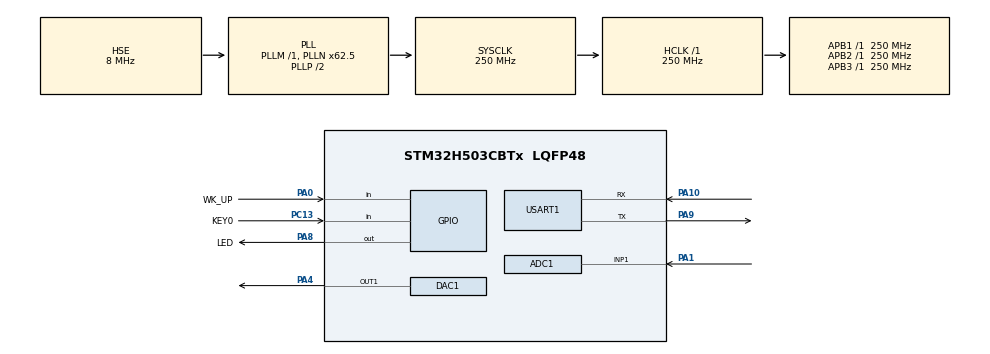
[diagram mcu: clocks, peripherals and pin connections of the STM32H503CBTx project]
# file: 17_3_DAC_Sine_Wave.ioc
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ADC1.Channel-1\#ChannelRegularConversion=ADC_CHANNEL_1
ADC1.ClockPrescaler=ADC_CLOCK_ASYNC_DIV8
ADC1.MonitoredBy-1\#ChannelRegularConversion=__NULL
ADC1.NbrOfConversionFlag=1
ADC1.OffsetNumber-1\#ChannelRegularConversion=ADC_OFFSET_NONE
ADC1.Rank-1\#ChannelRegularConversion=1
ADC1.SamplingTime-1\#ChannelRegularConversion=ADC_SAMPLETIME_2CYCLES_5
ADC1.master=1
BOOTPATH.BootPathName=LEGACY
BOOTPATH.UserSelectedBootPath=LEGACY
DAC1.DAC_Channel-DAC_OUT1=DAC_CHANNEL_1
DAC1.DAC_Trigger-DAC_OUT1=DAC_TRIGGER_T1_TRGO
GPDMA1.LINKALLOCATEDPORT_GPDMACH1=DMA_LINK_ALLOCATED_PORT1
GPDMA1.LINKEDLISTMODE_GPDMACH1=DMA_LINKEDLIST_CIRCULAR
GPDMA1.TRANSFEREVENTMODE_LL_GPDMACH1=DMA_TCEM_EACH_LL_ITEM_TRANSFER
Mcu.Family=STM32H5
Mcu.Name=STM32H503CBTx
Mcu.Package=LQFP48
NVIC.GPDMA1_Channel1_IRQn=true\:2\:1\:true\:false\:true\:true\:true\:true
NVIC.PriorityGroup=NVIC_PRIORITYGROUP_2
NVIC.USART1_IRQn=true\:2\:2\:true\:false\:true\:true\:true\:true
PA0.GPIO_Label=WK_UP
PA0.GPIO_PuPd=GPIO_PULLDOWN
PA0.Signal=GPIO_Input
PA1.Signal=ADCx_INP1
PA10.GPIO_ModeDefaultPP=GPIO_MODE_AF_PP
PA10.GPIO_Speed=GPIO_SPEED_FREQ_LOW
PA10.Mode=Asynchronous
PA10.Signal=USART1_RX
PA4.Signal=COMP_DAC11_group
PA8.GPIO_Label=LED
PA8.GPIO_ModeDefaultOutputPP=GPIO_MODE_OUTPUT_PP
PA8.GPIO_PuPd=GPIO_PULLUP
PA8.PinState=GPIO_PIN_SET
PA8.Signal=GPIO_Output
PA9.GPIO_Speed=GPIO_SPEED_FREQ_HIGH
PA9.Mode=Asynchronous
PA9.Signal=USART1_TX
PC13.GPIO_Label=KEY0
PC13.GPIO_PuPd=GPIO_PULLDOWN
PC13.Signal=GPIO_Input
PC14-OSC32_IN(OSC32_IN).Mode=LSE-External-Oscillator
PC14-OSC32_IN(OSC32_IN).Signal=RCC_OSC32_IN
PC15-OSC32_OUT(OSC32_OUT).Mode=LSE-External-Oscillator
PC15-OSC32_OUT(OSC32_OUT).Signal=RCC_OSC32_OUT
PH0-OSC_IN(PH0).Mode=HSE-External-Oscillator
PH0-OSC_IN(PH0).Signal=RCC_OSC_IN
PH1-OSC_OUT(PH1).Mode=HSE-External-Oscillator
PH1-OSC_OUT(PH1).Signal=RCC_OSC_OUT
ProjectManager.HeapSize=0x200
ProjectManager.StackSize=0x400
ProjectManager.TargetToolchain=STM32CubeIDE
RCC.ADCFreq_Value=250000000
RCC.AHBFreq_Value=250000000
RCC.APB1Freq_Value=250000000
RCC.APB1TimFreq_Value=250000000
RCC.APB2Freq_Value=250000000
RCC.APB2TimFreq_Value=250000000
RCC.APB3Freq_Value=250000000
RCC.CSI_VALUE=4000000
RCC.CortexFreq_Value=250000000
RCC.EPOD_VALUE=8000000
RCC.HCLKFreq_Value=250000000
RCC.HSE_VALUE=8000000
RCC.HSI48_VALUE=48000000
RCC.HSI_VALUE=64000000
RCC.LSIRC_VALUE=32000
RCC.PLL2Q=20
RCC.PLLFRACN=4096
RCC.PLLN=62
RCC.PLLSourceVirtual=RCC_PLL1_SOURCE_HSE
RCC.PREFETCH_ENABLE=1
RCC.SYSCLKFreq_VALUE=250000000
RCC.SYSCLKSource=RCC_SYSCLKSOURCE_PLLCLK
RCC.USBFreq_Value=48000000
RCC.VCOOutputFreq_Value=500000000
SH.ADCx_INP1.0=ADC1_INP1,IN1-Single-Ended
SH.COMP_DAC11_group.0=DAC1_OUT1,DAC_OUT1
TIM1.AutoReloadPreload=TIM_AUTORELOAD_PRELOAD_ENABLE
TIM1.PeriodNoDither=10-1
TIM1.Prescaler=250-1
TIM1.TIM_MasterOutputTrigger=TIM_TRGO_UPDATE
USART1.VirtualMode=VM_ASYNC
VP_BOOTPATH_VS_BOOTPATH.Mode=BP_Activate
VP_GPDMA1_VS_GPDMACH1.Mode=LINKEDLIST_GPDMACH1
VP_ICACHE_VS_ICACHE.Mode=DefaultMode
VP_MEMORYMAP_VS_MEMORYMAP.Mode=CurAppReg
VP_PWR_VS_DBSignals.Mode=DisableDeadBatterySignals
VP_PWR_VS_LPOM.Mode=PowerOptimisation
VP_PWR_VS_SECSignals.Mode=Security/Privilege
VP_TIM1_VS_ClockSourceINT.Mode=Internal
board=custom

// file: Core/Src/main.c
/**
 ****************************************************************************************************
 * @file        main.c
 * @author      ALIENTEK
 * @brief       DAC_Sine_Wave code
 * @license     Copyright (C) 2012-2024, ALIENTEK
 ****************************************************************************************************
 * @attention
 *
 * platform     : ALIENTEK M48-STM32H503 board
 * website      : www.alientek.com
 * forum        : www.openedv.com/forum.php
 *
 * change logs  ：
 * version      data         notes
 * V1.0         20240309     the first version
 *
 ****************************************************************************************************
 */

/* USER CODE BEGIN Header */

/* USER CODE END Header */
#include "main.h"
#include "adc.h"
#include "dac.h"
#include "gpdma.h"
#include "icache.h"
#include "memorymap.h"
#include "tim.h"
#include "usart.h"
#include "gpio.h"

/* USER CODE BEGIN Includes */
#include "../../BSP/LED/led.h"
#include "../../BSP/KEY/key.h"
/* USER CODE END Includes */

/* USER CODE BEGIN PV */
uint16_t g_dac_sin_buf[4096];      /* Send data buffer */
/* USER CODE END PV */

void SystemClock_Config(void);

/* USER CODE BEGIN 0 */
/**
 * @brief   Displays information about the experiment
 * @param   None
 * @retval  None
 */
void stm32h503cb_show_mesg(void)
{
	/* The serial port outputs the experimental information */
	printf("\n");
	printf("********************************\r\n");
	printf("STM32H503\r\n");
	printf("DAC DMA Sine WAVE TEST\r\n");
	printf("ATOM@ALIENTEK\r\n");
	printf("KEY0:Wave1  WKUP:Wave2\r\n");
	printf("********************************\r\n");
	printf("\r\n");
}

/* USER CODE END 0 */

int main(void)
{
  /* USER CODE BEGIN 1 */
  uint16_t adcx;
  float temp;
  uint8_t t = 0;
  uint8_t key;
  /* USER CODE END 1 */

  /* MCU Configuration--------------------------------------------------------*/

  /* Reset of all peripherals, Initializes the Flash interface and the Systick. */
  HAL_Init();

  /* Configure the system clock */
  SystemClock_Config();

  /* Initialize all configured peripherals */
  MX_GPIO_Init();
  MX_GPDMA1_Init();
  MX_USART1_UART_Init();
  MX_DAC1_Init();
  MX_ICACHE_Init();
  MX_TIM1_Init();

  MX_ADC1_Init();
  /* USER CODE BEGIN 2 */
  stm32h503cb_show_mesg();
  dac_creat_sin_buf(2048, 100);
  dac_dma_wave_enable(100, 10 - 1, 250 - 1);
  /* USER CODE END 2 */

  /* Infinite loop */
  /* USER CODE BEGIN WHILE */
  while (1)
  {
	  t++;
	  key = key_scan(0);                               /* Scan key */

	  if (key == KEY0_PRES)                            /* High sampling rate, about 5Khz waveform */
	  {
	      printf("DAC Wave1 \r\n");
	      dac_creat_sin_buf(2048, 100);                /* Generate a sequence of sine wave functions */
	      dac_dma_wave_enable(100, 20 - 1, 25 - 1);    /* 5Khz trigger frequency, 100 points to obtain a sine wave of up to 5KHz. */
	  }
	  else if (key == WKUP_PRES)                       /* Low sampling rate, about 1Khz waveform */
	  {
	      printf("DAC Wave2 \r\n");
	      dac_creat_sin_buf(2048, 10);                 /* Generate a sequence of sine wave functions */
	      dac_dma_wave_enable(10, 20 - 1, 25 - 1);     /* With 50Khz trigger frequency and 10 points, a sine wave up to 50KHz can be obtained. */
	  }

	  adcx = DAC1->DHR12R1;                            /* Get the output status of DAC1_OUT1 */
	  printf("adcx:%d\n", adcx);                       /* Display DAC register values */

	  temp = (float)adcx * (3.3 / 4096);               /* The DAC voltage value is obtained */
	  printf("temp:%f\n", temp);                       /* Display voltage value */

	  adcx = adc_get_result_average(20);               /* The conversion result of ADC channel 1 is obtained */
	  temp = (float)adcx * (3.3 / 65536);              /* Get the ADC voltage value (adc is 16bit) */
	  printf("temp:%f\n", temp);                       /* Display the voltage value acquired by the ADC */

	  if (t == 10)
	  {
		  LED_TOGGLE();
		  t = 0;
	  }
	  HAL_Delay(10);                                   /* delay 10ms */

    /* USER CODE END WHILE */

  }
}

void SystemClock_Config(void)
{
  RCC_OscInitTypeDef RCC_OscInitStruct = {0};
  RCC_ClkInitTypeDef RCC_ClkInitStruct = {0};

  /** Configure the main internal regulator output voltage
  */
  __HAL_PWR_VOLTAGESCALING_CONFIG(PWR_REGULATOR_VOLTAGE_SCALE0);

  while(!__HAL_PWR_GET_FLAG(PWR_FLAG_VOSRDY)) {}

  /** Configure LSE Drive Capability
  */
  HAL_PWR_EnableBkUpAccess();
  __HAL_RCC_LSEDRIVE_CONFIG(RCC_LSEDRIVE_LOW);

  /** Initializes the RCC Oscillators according to the specified parameters
  * in the RCC_OscInitTypeDef structure.
  */
  RCC_OscInitStruct.OscillatorType = RCC_OSCILLATORTYPE_HSE|RCC_OSCILLATORTYPE_LSE;
  RCC_OscInitStruct.HSEState = RCC_HSE_ON;
  RCC_OscInitStruct.LSEState = RCC_LSE_ON;
  RCC_OscInitStruct.PLL.PLLState = RCC_PLL_ON;
  RCC_OscInitStruct.PLL.PLLSource = RCC_PLL1_SOURCE_HSE;
  RCC_OscInitStruct.PLL.PLLM = 1;
  RCC_OscInitStruct.PLL.PLLN = 62;
  RCC_OscInitStruct.PLL.PLLP = 2;
  RCC_OscInitStruct.PLL.PLLQ = 2;
  RCC_OscInitStruct.PLL.PLLR = 2;
  RCC_OscInitStruct.PLL.PLLRGE = RCC_PLL1_VCIRANGE_3;
  RCC_OscInitStruct.PLL.PLLVCOSEL = RCC_PLL1_VCORANGE_WIDE;
  RCC_OscInitStruct.PLL.PLLFRACN = 4096;
  if (HAL_RCC_OscConfig(&RCC_OscInitStruct) != HAL_OK)
  {
    Error_Handler();
  }

  /** Initializes the CPU, AHB and APB buses clocks
  */
  RCC_ClkInitStruct.ClockType = RCC_CLOCKTYPE_HCLK|RCC_CLOCKTYPE_SYSCLK
                              |RCC_CLOCKTYPE_PCLK1|RCC_CLOCKTYPE_PCLK2
                              |RCC_CLOCKTYPE_PCLK3;
  RCC_ClkInitStruct.SYSCLKSource = RCC_SYSCLKSOURCE_PLLCLK;
  RCC_ClkInitStruct.AHBCLKDivider = RCC_SYSCLK_DIV1;
  RCC_ClkInitStruct.APB1CLKDivider = RCC_HCLK_DIV1;
  RCC_ClkInitStruct.APB2CLKDivider = RCC_HCLK_DIV1;
  RCC_ClkInitStruct.APB3CLKDivider = RCC_HCLK_DIV1;

  if (HAL_RCC_ClockConfig(&RCC_ClkInitStruct, FLASH_LATENCY_5) != HAL_OK)
  {
    Error_Handler();
  }
}

void Error_Handler(void)
{
  __disable_irq();
  while (1)
  {
  }
}
